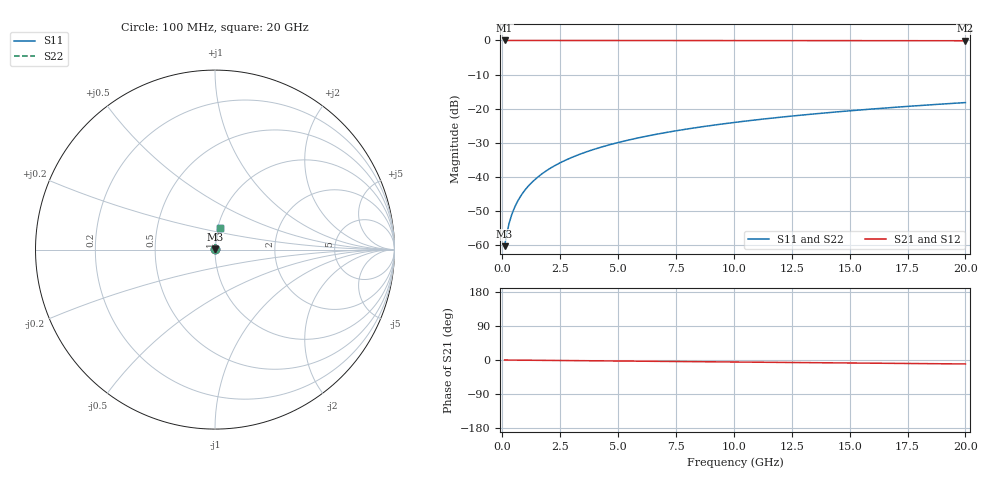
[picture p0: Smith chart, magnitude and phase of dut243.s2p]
! Touchstone file exported from HFSS 2026.1.0
!  File:  C:/ffzhzh/LocalFiles/Ansys_Project_Files/temp_train_BSMRDL_243_1782988473_6248.aedt
!  Generated:  06:35:43 PM Jul  2, 2026
!  Design:  BSMRDL
!  Project:  temp_train_BSMRDL_243_1782988473_6248
! Variables:
!  h_bsmrdl = 5.06um
!  h_ox = 20um
!  h_rdl = 5um
!  h_sub = 80um
!  h_tmrdl = 5um
!  h_tsv = 80um
!  h_via = 3um
!  l_bsmrdl = 109.06um
!  l_sub = 509.06um
!  l_tmrdl = 200um
!  m_sub = 200um
!  pitch = 43.2um
!  r_tsv = 6um
!  s_tmrdl = 10um
!  w_bsmrdl = 13.25um
!  w_sub = 500um
!  w_tmrdl = 12um
!  x_tsv_center1 = 206um
!  x_tsv_center2 = 328.31um
!  x_tsv_center3 = 540.31um
!  x_tsv_center4 = 662.62um
!  x_tsv_center5 = 874.62um
!  x_tsv_center6 = 996.93um
# GHz S MA R 50.000000
! Terminal data exported
! Port[1] = BSM_RDL1_1_T1
! Port[2] = BSM_RDL1_1_T2
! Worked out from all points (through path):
!   200 points, 100 MHz to 20 GHz, reference 50 ohm
!   highest |S21| = -0.01 dB at 100 MHz (marker M1); lowest = -0.1 dB at 20 GHz (marker M2)
!   group delay of S21, straight-line fit = 1.45 ps
!   lowest |S11| = -60.3 dB at 100 MHz (marker M3), VSWR 1.00, Z = 50.1 + j0.0676 ohm
!   |S11| at or under -10 dB: start of sweep to end of sweep
!   |S22| runs from -60.3 to -18.2 dB; largest |S21 - S12| = 2e-15
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0.1  0.0009696 44.1  0.9993 -0.1  0.9993 -0.1  0.0009696 44.1
! Gamma 0 0 0 0
! Port Impedance 50 0 50 0
0.2  0.001521 61.9  0.9993 -0.1  0.9993 -0.1  0.001521 61.9
0.3  0.002131 69.7  0.9993 -0.2  0.9993 -0.2  0.002131 69.7
0.4  0.002756 73.9  0.9992 -0.2  0.9992 -0.2  0.002756 73.9
0.5  0.003385 76.5  0.9992 -0.3  0.9992 -0.3  0.003385 76.5
0.6  0.004016 78.4  0.9992 -0.3  0.9992 -0.3  0.004016 78.4
0.8  0.005285 80.7  0.9992 -0.4  0.9992 -0.4  0.005285 80.7
1.1  0.007198 82.7  0.9991 -0.6  0.9991 -0.6  0.007198 82.7
1.5  0.009756 84.0  0.9991 -0.8  0.9991 -0.8  0.009756 84.0
1.8  0.01168 84.5  0.999 -1.0  0.999 -1.0  0.01168 84.5
2.1  0.0136 84.8  0.9989 -1.1  0.9989 -1.1  0.0136 84.8
2.7  0.01742 85.1  0.9988 -1.5  0.9988 -1.5  0.01742 85.1
3.5  0.02251 85.1  0.9986 -1.9  0.9986 -1.9  0.02251 85.1
4.2  0.02692 85.0  0.9983 -2.3  0.9983 -2.3  0.02692 85.0
5  0.03195 84.7  0.9981 -2.7  0.9981 -2.7  0.03195 84.7
5.9  0.03756 84.4  0.9977 -3.1  0.9977 -3.1  0.03756 84.4
6.8  0.04314 84.1  0.9973 -3.6  0.9973 -3.6  0.04314 84.1
8.3  0.05239 83.4  0.9966 -4.4  0.9966 -4.4  0.05239 83.4
10.1  0.06342 82.7  0.9958 -5.3  0.9958 -5.3  0.06342 82.7
13.4  0.08348 81.2  0.9939 -7.1  0.9939 -7.1  0.08348 81.2
16.7  0.1034 79.6  0.9918 -8.8  0.9918 -8.8  0.1034 79.6
20  0.123 78.1  0.9892 -10.4  0.9892 -10.4  0.123 78.1
